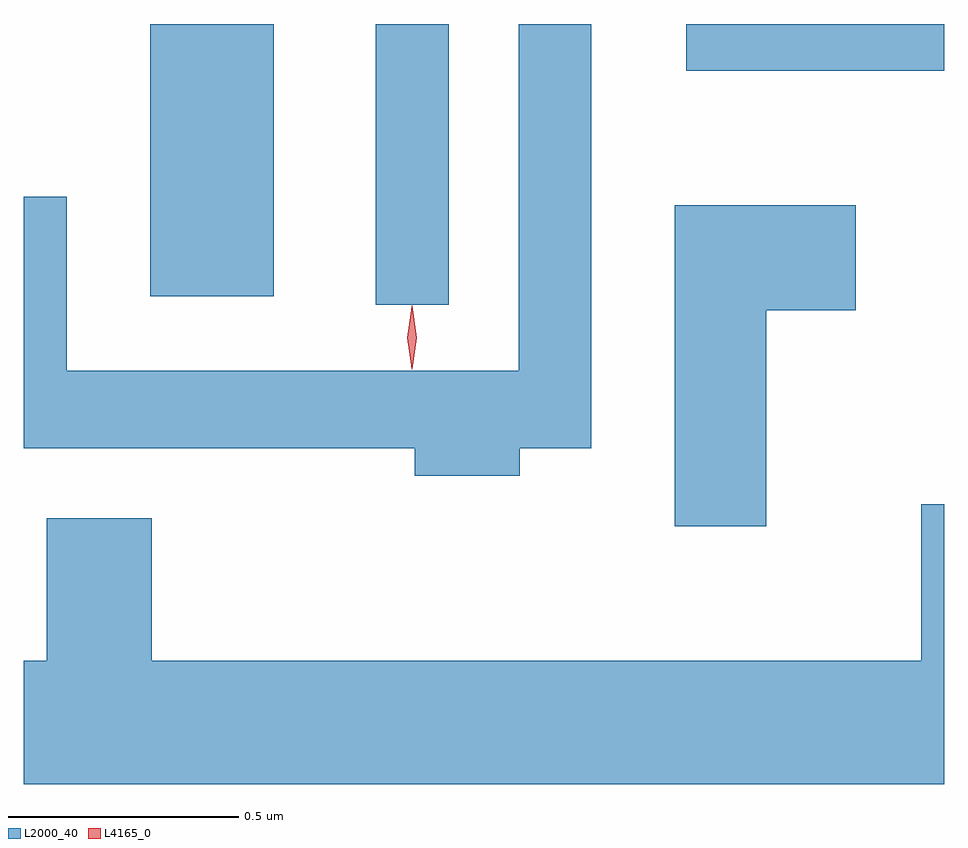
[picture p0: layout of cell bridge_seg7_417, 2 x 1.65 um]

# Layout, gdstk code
import gdstk
lib = gdstk.Library(unit=1e-6, precision=1e-09)
def R(c, l, rs):  # rectangles x0, y0, x1, y1
    for r in rs: c.add(gdstk.rectangle(r[:2], r[2:], *l))
def P(c, l, *ps):  # polygons
    for p in ps: c.add(gdstk.Polygon(p, *l))
L2000_40 = (2000, 40)
L4165_0 = (4165, 0)

bridge_seg7_417 = lib.new_cell('bridge_seg7_417')
R(bridge_seg7_417, L2000_40, [(1151.486,1717.578,1151.644,1718.188), (1150.996,1717.596,1151.264,1718.188), (1152.161,1718.086,1152.721,1718.188)])
P(bridge_seg7_417, L2000_40, [(1151.799,1717.266),(1151.954,1717.266),(1151.954,1718.188),(1151.796,1718.188),(1151.796,1717.434),(1150.814,1717.434),(1150.814,1717.813),(1150.721,1717.813),(1150.721,1717.266),(1151.571,1717.266),(1151.571,1717.206),(1151.799,1717.206)],
  [(1152.334,1717.566),(1152.529,1717.566),(1152.529,1717.794),(1152.136,1717.794),(1152.136,1717.096),(1152.334,1717.096)],
  [(1152.721,1717.144),(1152.671,1717.144),(1152.671,1716.804),(1150.999,1716.804),(1150.999,1717.114),(1150.771,1717.114),(1150.771,1716.804),(1150.721,1716.804),(1150.721,1716.536),(1152.721,1716.536)])
P(bridge_seg7_417, L4165_0, [(1151.564,1717.437),(1151.555,1717.506),(1151.564,1717.576),(1151.565,1717.576),(1151.565,1717.576),(1151.575,1717.506),(1151.565,1717.437),(1151.565,1717.437)],
  [(1151.564,1717.439),(1151.564,1717.44),(1151.554,1717.506),(1151.564,1717.572),(1151.564,1717.573),(1151.565,1717.572),(1151.574,1717.506),(1151.565,1717.44)])

lib.write_gds('bridge_seg7_417.gds')
